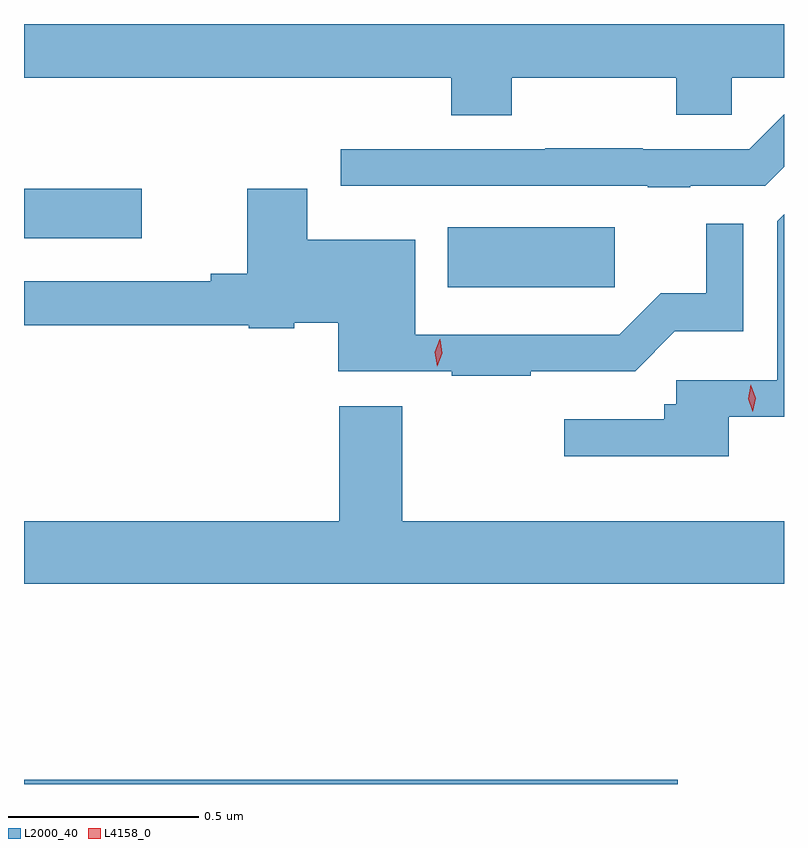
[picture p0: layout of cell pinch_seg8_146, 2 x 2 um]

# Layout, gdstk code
import gdstk
lib = gdstk.Library(unit=1e-6, precision=1e-09)
def R(c, l, rs):  # rectangles x0, y0, x1, y1
    for r in rs: c.add(gdstk.rectangle(r[:2], r[2:], *l))
def P(c, l, *ps):  # polygons
    for p in ps: c.add(gdstk.Polygon(p, *l))
L2000_40 = (2000, 40)
L4158_0 = (4158, 0)

pinch_seg8_146 = lib.new_cell('pinch_seg8_146')
R(pinch_seg8_146, L2000_40, [(843.189,1137.285,844.91,1137.296), (844.304,1138.592,844.744,1138.75), (843.189,1138.721,843.499,1138.851)])
P(pinch_seg8_146, L2000_40, [(844.473,1139.144),(844.906,1139.144),(844.906,1139.046),(845.052,1139.046),(845.052,1139.144),(845.189,1139.144),(845.189,1139.285),(843.189,1139.285),(843.189,1139.144),(844.313,1139.144),(844.313,1139.045),(844.473,1139.045)],
  [(844.942,1138.86),(845.139,1138.86),(845.189,1138.91),(845.189,1139.048),(845.097,1138.956),(844.817,1138.956),(844.817,1138.958),(844.561,1138.958),(844.561,1138.956),(844.023,1138.956),(844.023,1138.86),(844.831,1138.86),(844.831,1138.855),(844.942,1138.855)],
  [(844.523,1138.371),(844.797,1138.371),(844.902,1138.476),(845.082,1138.476),(845.082,1138.759),(844.984,1138.759),(844.984,1138.577),(844.865,1138.577),(844.755,1138.467),(844.219,1138.467),(844.219,1138.717),(843.934,1138.717),(843.934,1138.852),(843.776,1138.852),(843.776,1138.628),(843.68,1138.628),(843.68,1138.608),(843.189,1138.608),(843.189,1138.492),(843.78,1138.492),(843.78,1138.484),(843.9,1138.484),(843.9,1138.499),(844.016,1138.499),(844.016,1138.371),(844.315,1138.371),(844.315,1138.359),(844.523,1138.359)],
  [(845.044,1138.251),(845.189,1138.251),(845.189,1138.784),(845.171,1138.766),(845.171,1138.347),(844.905,1138.347),(844.905,1138.284),(844.874,1138.284),(844.874,1138.245),(844.611,1138.245),(844.611,1138.148),(845.044,1138.148)],
  [(845.189,1137.976),(844.184,1137.976),(844.184,1138.279),(844.019,1138.279),(844.019,1137.976),(843.189,1137.976),(843.189,1137.812),(845.189,1137.812)])
P(pinch_seg8_146, L4158_0, [(845.107,1138.264),(845.107,1138.264),(845.095,1138.299),(845.102,1138.336),(845.102,1138.336),(845.102,1138.336),(845.115,1138.3),(845.107,1138.264)],
  [(844.276,1138.385),(844.276,1138.385),(844.27,1138.421),(844.283,1138.456),(844.283,1138.456),(844.284,1138.456),(844.29,1138.419),(844.276,1138.385)])

lib.write_gds('pinch_seg8_146.gds')
